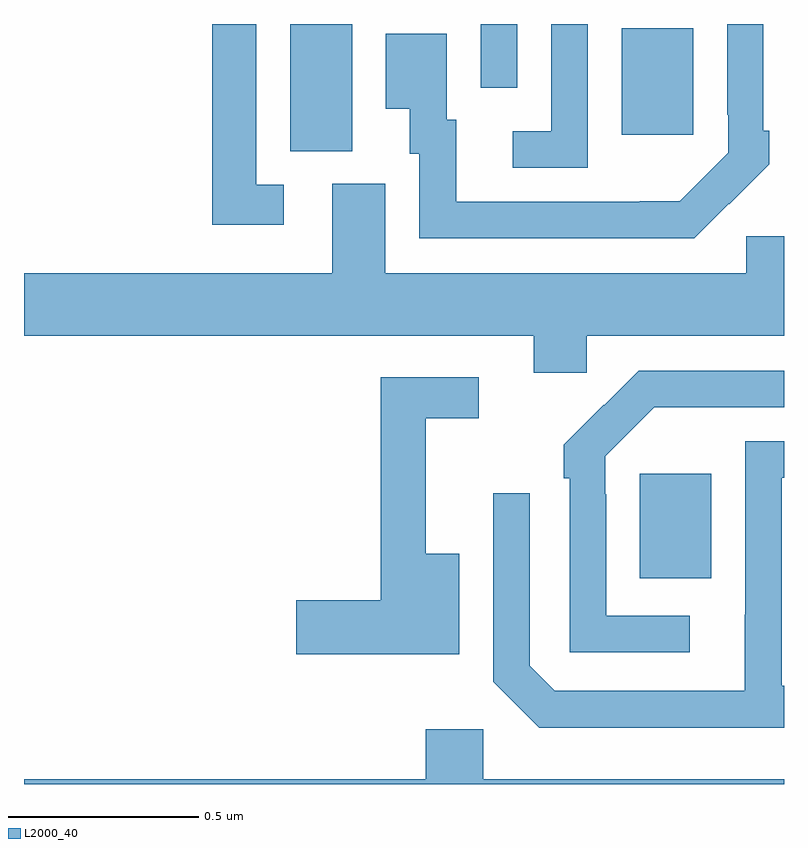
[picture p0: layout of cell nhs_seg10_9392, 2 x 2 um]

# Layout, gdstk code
import gdstk
lib = gdstk.Library(unit=1e-6, precision=1e-09)
def R(c, l, rs):  # rectangles x0, y0, x1, y1
    for r in rs: c.add(gdstk.rectangle(r[:2], r[2:], *l))
def P(c, l, *ps):  # polygons
    for p in ps: c.add(gdstk.Polygon(p, *l))
L2000_40 = (2000, 40)

nhs_seg10_9392 = lib.new_cell('nhs_seg10_9392')
R(nhs_seg10_9392, L2000_40, [(230.621,1269.041,230.809,1269.316), (229.7,1270.165,229.864,1270.5), (230.573,1270.209,230.761,1270.489), (230.202,1270.332,230.298,1270.5)])
P(nhs_seg10_9392, L2000_40, [(230.484,1270.5),(230.388,1270.5),(230.388,1270.218),(230.286,1270.218),(230.286,1270.122),(230.484,1270.122)],
  [(230.855,1270.027),(230.856,1270.026),(230.961,1270.131),(230.961,1270.219),(230.946,1270.219),(230.946,1270.5),(230.85,1270.5),(230.85,1270.261),(230.853,1270.261),(230.853,1270.161),(230.725,1270.033),(230.621,1270.033),(230.621,1270.032),(230.137,1270.032),(230.137,1270.248),(230.113,1270.248),(230.113,1270.474),(229.952,1270.474),(229.952,1270.277),(230.015,1270.277),(230.015,1270.158),(230.04,1270.158),(230.04,1269.936),(230.764,1269.936)],
  [(229.684,1270.077),(229.611,1270.077),(229.611,1270.5),(229.495,1270.5),(229.495,1269.972),(229.684,1269.972)],
  [(230.481,1269.68),(231,1269.68),(231,1269.942),(230.901,1269.942),(230.901,1269.844),(229.951,1269.844),(229.951,1270.08),(229.811,1270.08),(229.811,1269.844),(229,1269.844),(229,1269.68),(230.342,1269.68),(230.342,1269.582),(230.481,1269.582)],
  [(230.752,1268.943),(230.532,1268.943),(230.532,1269.263),(230.529,1269.263),(230.529,1269.363),(230.658,1269.492),(231,1269.492),(231,1269.588),(230.618,1269.588),(230.527,1269.497),(230.526,1269.498),(230.421,1269.393),(230.421,1269.305),(230.436,1269.305),(230.436,1268.847),(230.752,1268.847)],
  [(230.146,1269.106),(230.057,1269.106),(230.057,1269.462),(230.197,1269.462),(230.197,1269.57),(229.939,1269.57),(229.939,1268.984),(229.716,1268.984),(229.716,1268.842),(230.146,1268.842)],
  [(231,1268.758),(230.994,1268.758),(230.994,1269.306),(231,1269.306),(231,1269.402),(230.898,1269.402),(230.898,1268.945),(230.897,1268.945),(230.897,1268.745),(230.397,1268.745),(230.331,1268.811),(230.331,1269.265),(230.235,1269.265),(230.235,1268.769),(230.356,1268.648),(231,1268.648)],
  [(231,1268.512),(230.208,1268.512),(230.208,1268.644),(230.057,1268.644),(230.057,1268.512),(229,1268.512),(229,1268.5),(231,1268.5)])

lib.write_gds('nhs_seg10_9392.gds')
